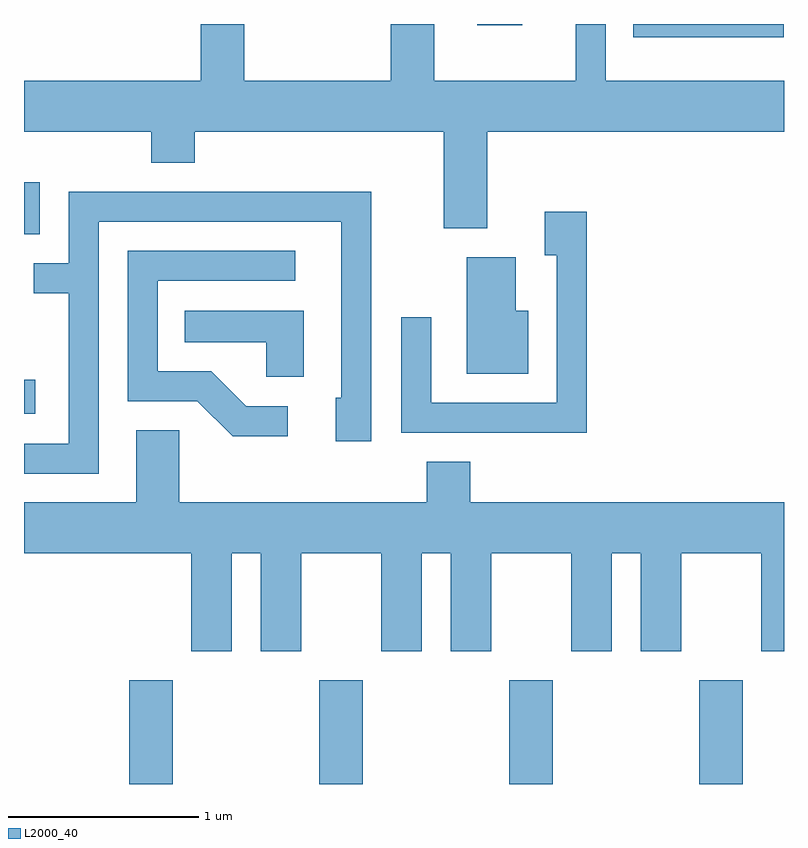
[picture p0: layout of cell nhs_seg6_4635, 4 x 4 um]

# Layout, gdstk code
import gdstk
lib = gdstk.Library(unit=1e-6, precision=1e-09)
def R(c, l, rs):  # rectangles x0, y0, x1, y1
    for r in rs: c.add(gdstk.rectangle(r[:2], r[2:], *l))
def A(c, l, x, y, w, h, nx, ny, dx, dy):  # array of equal rectangles
    R(c, l, [(x+i*dx, y+j*dy, x+i*dx+w, y+j*dy+h) for i in range(nx) for j in range(ny)])
def P(c, l, *ps):  # polygons
    for p in ps: c.add(gdstk.Polygon(p, *l))
L2000_40 = (2000, 40)

nhs_seg6_4635 = lib.new_cell('nhs_seg6_4635')
A(nhs_seg6_4635, L2000_40, 328.166, 1542.162, 0.228, 0.547, 4, 1, 1, 0)
R(nhs_seg6_4635, L2000_40, [(327.611,1544.111,327.669,1544.289), (327.611,1545.056,327.694,1545.328), (330.818,1546.091,331.609,1546.162), (329.996,1546.156,330.234,1546.162)])
P(nhs_seg6_4635, L2000_40, [(330.049,1545.596),(331.611,1545.596),(331.611,1545.864),(330.674,1545.864),(330.674,1546.162),(330.516,1546.162),(330.516,1545.864),(329.769,1545.864),(329.769,1546.162),(329.541,1546.162),(329.541,1545.864),(328.769,1545.864),(328.769,1546.162),(328.541,1546.162),(328.541,1545.864),(327.611,1545.864),(327.611,1545.596),(328.281,1545.596),(328.281,1545.431),(328.509,1545.431),(328.509,1545.596),(329.821,1545.596),(329.821,1545.086),(330.049,1545.086)],
  [(328.004,1545.121),(329.281,1545.121),(329.281,1544.194),(329.251,1544.194),(329.251,1543.966),(329.439,1543.966),(329.439,1545.279),(327.846,1545.279),(327.846,1544.904),(327.663,1544.904),(327.663,1544.746),(327.846,1544.746),(327.846,1543.954),(327.611,1543.954),(327.611,1543.796),(328.004,1543.796)],
  [(330.574,1545.174),(330.351,1545.174),(330.351,1544.946),(330.416,1544.946),(330.416,1544.169),(329.754,1544.169),(329.754,1544.618),(329.596,1544.618),(329.596,1544.011),(330.574,1544.011)],
  [(328.998,1544.149),(328.782,1544.149),(328.597,1544.334),(328.314,1544.334),(328.314,1544.811),(329.038,1544.811),(329.038,1544.969),(328.156,1544.969),(328.156,1544.176),(328.524,1544.176),(328.709,1543.991),(328.998,1543.991)],
  [(330.264,1544.654),(330.199,1544.654),(330.199,1544.934),(329.941,1544.934),(329.941,1544.321),(330.264,1544.321)],
  [(329.084,1544.654),(328.458,1544.654),(328.458,1544.486),(328.886,1544.486),(328.886,1544.306),(329.084,1544.306)],
  [(329.959,1543.859),(329.731,1543.859),(329.731,1543.644),(328.429,1543.644),(328.429,1544.024),(328.201,1544.024),(328.201,1543.644),(327.611,1543.644),(327.611,1543.376),(328.491,1543.376),(328.491,1542.861),(328.704,1542.861),(328.704,1543.376),(328.856,1543.376),(328.856,1542.861),(329.069,1542.861),(329.069,1543.376),(329.491,1543.376),(329.491,1542.861),(329.704,1542.861),(329.704,1543.376),(329.856,1543.376),(329.856,1542.861),(330.069,1542.861),(330.069,1543.376),(330.491,1543.376),(330.491,1542.861),(330.704,1542.861),(330.704,1543.376),(330.856,1543.376),(330.856,1542.861),(331.069,1542.861),(331.069,1543.376),(331.491,1543.376),(331.491,1542.861),(331.611,1542.861),(331.611,1543.644),(329.959,1543.644)])

lib.write_gds('nhs_seg6_4635.gds')
